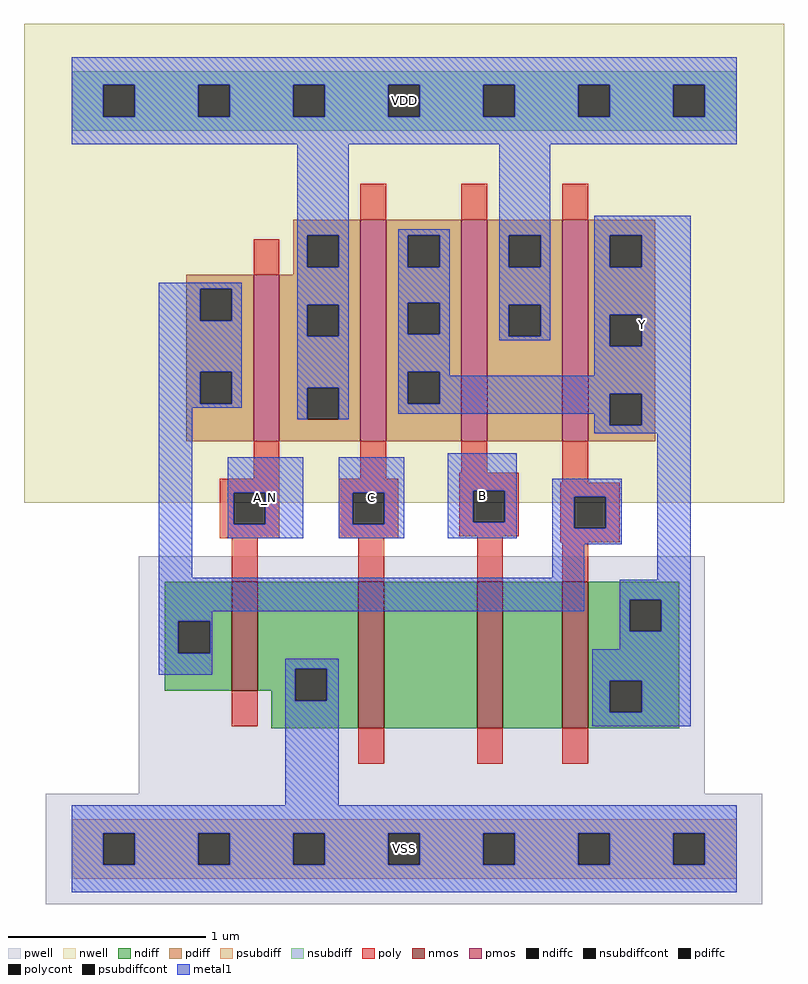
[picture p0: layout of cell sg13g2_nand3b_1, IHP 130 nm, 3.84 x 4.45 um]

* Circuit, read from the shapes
.subckt sg13g2_nand3b_1 A_N Y VDD VSS B C
XM1 VSS A_N n1 VSS sg13_lv_nmos w=0.55u l=0.13u
XM2 n2 C VSS VSS sg13_lv_nmos w=0.74u l=0.13u
XM3 n3 B n2 VSS sg13_lv_nmos w=0.74u l=0.13u
XM4 Y n1 n3 VSS sg13_lv_nmos w=0.74u l=0.13u
XM5 VDD A_N n1 VDD sg13_lv_pmos w=0.84u l=0.13u
XM6 Y C VDD VDD sg13_lv_pmos w=1.12u l=0.13u
XM7 VDD B Y VDD sg13_lv_pmos w=1.12u l=0.13u
XM8 Y n1 VDD VDD sg13_lv_pmos w=1.12u l=0.13u
.ends

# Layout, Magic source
magic
tech ihp-sg13g2
<< nwell >>
rect -24 175 360 417
<< pwell >>
rect 34 28 320 148
rect -13 -28 349 28
<< nmos >>
rect 81 80 94 135
rect 145 61 158 135
rect 205 61 218 135
rect 248 61 261 135
<< pmos >>
rect 92 206 105 290
rect 146 206 159 318
rect 197 206 210 318
rect 248 206 261 318
<< ndiff >>
rect 47 115 81 135
rect 47 99 54 115
rect 70 99 81 115
rect 47 80 81 99
rect 94 91 145 135
rect 94 80 113 91
rect 101 75 113 80
rect 129 75 145 91
rect 101 61 145 75
rect 158 61 205 135
rect 218 61 248 135
rect 261 126 307 135
rect 261 110 282 126
rect 298 110 307 126
rect 261 85 307 110
rect 261 69 272 85
rect 288 69 307 85
rect 261 61 307 69
<< pdiff >>
rect 112 310 146 318
rect 112 294 119 310
rect 135 294 146 310
rect 112 290 146 294
rect 58 283 92 290
rect 58 267 65 283
rect 81 267 92 283
rect 58 241 92 267
rect 58 225 65 241
rect 81 225 92 241
rect 58 206 92 225
rect 105 275 146 290
rect 105 259 119 275
rect 135 259 146 275
rect 105 233 146 259
rect 105 217 119 233
rect 135 217 146 233
rect 105 206 146 217
rect 159 310 197 318
rect 159 294 170 310
rect 186 294 197 310
rect 159 276 197 294
rect 159 260 170 276
rect 186 260 197 276
rect 159 241 197 260
rect 159 225 170 241
rect 186 225 197 241
rect 159 206 197 225
rect 210 310 248 318
rect 210 294 221 310
rect 237 294 248 310
rect 210 275 248 294
rect 210 259 221 275
rect 237 259 248 275
rect 210 206 248 259
rect 261 310 295 318
rect 261 294 272 310
rect 288 294 295 310
rect 261 270 295 294
rect 261 254 272 270
rect 288 254 295 270
rect 261 230 295 254
rect 261 214 272 230
rect 288 214 295 230
rect 261 206 295 214
<< ndiffc >>
rect 54 99 70 115
rect 113 75 129 91
rect 282 110 298 126
rect 272 69 288 85
<< pdiffc >>
rect 119 294 135 310
rect 65 267 81 283
rect 65 225 81 241
rect 119 259 135 275
rect 119 217 135 233
rect 170 294 186 310
rect 170 260 186 276
rect 170 225 186 241
rect 221 294 237 310
rect 221 259 237 275
rect 272 294 288 310
rect 272 254 288 270
rect 272 214 288 230
<< psubdiff >>
rect 0 8 336 15
rect 0 -8 16 8
rect 32 -8 64 8
rect 80 -8 112 8
rect 128 -8 160 8
rect 176 -8 208 8
rect 224 -8 256 8
rect 272 -8 304 8
rect 320 -8 336 8
rect 0 -15 336 -8
<< nsubdiff >>
rect 0 386 336 393
rect 0 370 16 386
rect 32 370 64 386
rect 80 370 112 386
rect 128 370 160 386
rect 176 370 208 386
rect 224 370 256 386
rect 272 370 304 386
rect 320 370 336 386
rect 0 363 336 370
<< psubdiffcont >>
rect 16 -8 32 8
rect 64 -8 80 8
rect 112 -8 128 8
rect 160 -8 176 8
rect 208 -8 224 8
rect 256 -8 272 8
rect 304 -8 320 8
<< nsubdiffcont >>
rect 16 370 32 386
rect 64 370 80 386
rect 112 370 128 386
rect 160 370 176 386
rect 208 370 224 386
rect 256 370 272 386
rect 304 370 320 386
<< poly >>
rect 146 318 159 336
rect 197 318 210 336
rect 248 318 261 336
rect 92 290 105 308
rect 92 187 105 206
rect 146 187 159 206
rect 197 190 210 206
rect 75 180 105 187
rect 75 164 82 180
rect 98 164 105 180
rect 75 157 105 164
rect 135 180 165 187
rect 135 164 142 180
rect 158 164 165 180
rect 135 157 165 164
rect 196 181 226 190
rect 248 185 261 206
rect 196 165 203 181
rect 219 165 226 181
rect 196 158 226 165
rect 247 178 277 185
rect 247 162 254 178
rect 270 162 277 178
rect 81 135 94 157
rect 145 135 158 157
rect 205 135 218 158
rect 247 155 277 162
rect 248 135 261 155
rect 81 62 94 80
rect 145 43 158 61
rect 205 43 218 61
rect 248 43 261 61
<< polycont >>
rect 82 164 98 180
rect 142 164 158 180
rect 203 165 219 181
rect 254 162 270 178
<< metal1 >>
rect 0 386 336 400
rect 0 370 16 386
rect 32 370 64 386
rect 80 370 112 386
rect 128 370 160 386
rect 176 370 208 386
rect 224 370 256 386
rect 272 370 304 386
rect 320 370 336 386
rect 0 356 336 370
rect 114 310 140 356
rect 114 294 119 310
rect 135 294 140 310
rect 44 283 86 286
rect 44 267 65 283
rect 81 267 86 283
rect 44 241 86 267
rect 44 225 65 241
rect 81 225 86 241
rect 44 223 86 225
rect 114 275 140 294
rect 114 259 119 275
rect 135 259 140 275
rect 114 233 140 259
rect 44 137 61 223
rect 114 217 119 233
rect 135 217 140 233
rect 165 310 191 313
rect 165 294 170 310
rect 186 294 191 310
rect 165 276 191 294
rect 165 260 170 276
rect 186 260 191 276
rect 165 241 191 260
rect 216 310 242 356
rect 216 294 221 310
rect 237 294 242 310
rect 216 275 242 294
rect 216 259 221 275
rect 237 259 242 275
rect 216 257 242 259
rect 264 310 313 320
rect 264 294 272 310
rect 288 294 313 310
rect 264 270 313 294
rect 165 225 170 241
rect 186 239 191 241
rect 264 254 272 270
rect 288 254 313 270
rect 264 239 313 254
rect 186 230 313 239
rect 186 225 272 230
rect 165 220 272 225
rect 264 214 272 220
rect 288 214 313 230
rect 264 210 313 214
rect 79 180 117 198
rect 79 164 82 180
rect 98 164 117 180
rect 79 157 117 164
rect 135 180 168 198
rect 135 164 142 180
rect 158 164 168 180
rect 135 157 168 164
rect 190 181 225 200
rect 190 165 203 181
rect 219 165 225 181
rect 190 157 225 165
rect 243 178 278 187
rect 243 162 254 178
rect 270 162 278 178
rect 243 154 278 162
rect 243 137 259 154
rect 44 120 259 137
rect 296 136 313 210
rect 277 126 313 136
rect 44 115 71 120
rect 44 99 54 115
rect 70 99 71 115
rect 277 110 282 126
rect 298 110 313 126
rect 277 101 313 110
rect 44 88 71 99
rect 108 91 135 96
rect 108 75 113 91
rect 129 75 135 91
rect 108 22 135 75
rect 263 85 313 101
rect 263 69 272 85
rect 288 69 313 85
rect 263 62 313 69
rect 0 8 336 22
rect 0 -8 16 8
rect 32 -8 64 8
rect 80 -8 112 8
rect 128 -8 160 8
rect 176 -8 208 8
rect 224 -8 256 8
rect 272 -8 304 8
rect 320 -8 336 8
rect 0 -22 336 -8
<< labels >>
flabel metal1 s 79 157 117 198 0 FreeSans 200 0 0 0 A_N
port 2 nsew
flabel metal1 s 264 210 313 320 0 FreeSans 200 0 0 0 Y
port 3 nsew
flabel metal1 s 0 356 336 400 0 FreeSans 200 0 0 0 VDD
port 4 nsew
flabel metal1 s 0 -22 336 22 0 FreeSans 200 0 0 0 VSS
port 5 nsew
flabel metal1 s 190 157 225 200 0 FreeSans 200 0 0 0 B
port 6 nsew
flabel metal1 s 135 157 168 198 0 FreeSans 200 0 0 0 C
port 7 nsew
<< properties >>
string FIXED_BBOX 0 0 336 378
string GDS_END 159590
string GDS_FILE ../gds/controller.gds
string GDS_START 153760
<< end >>
